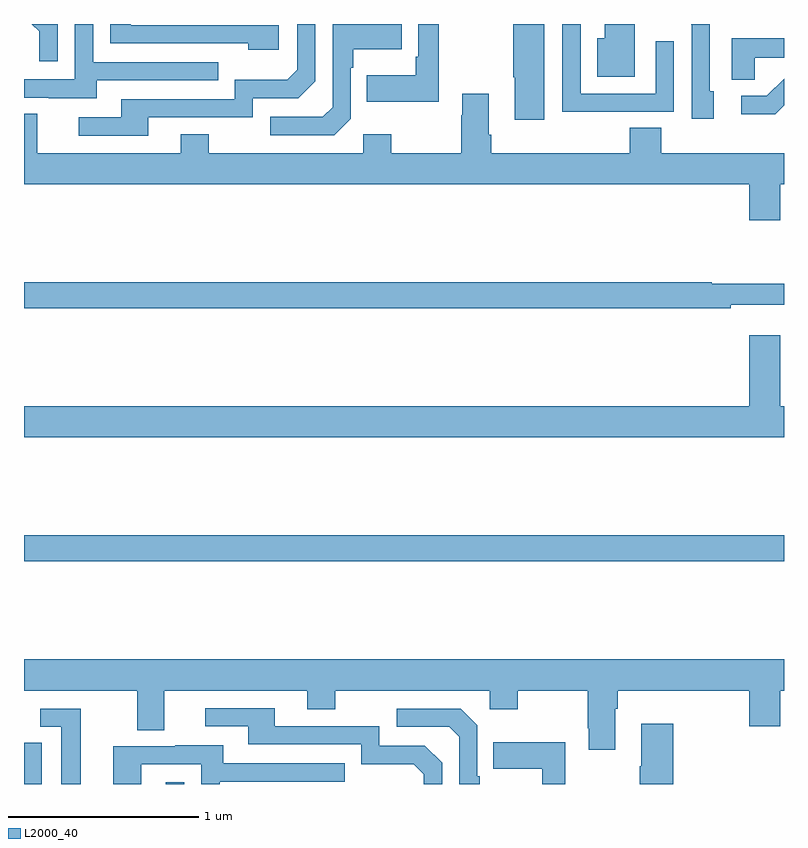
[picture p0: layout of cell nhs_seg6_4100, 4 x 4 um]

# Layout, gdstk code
import gdstk
lib = gdstk.Library(unit=1e-6, precision=1e-09)
def R(c, l, rs):  # rectangles x0, y0, x1, y1
    for r in rs: c.add(gdstk.rectangle(r[:2], r[2:], *l))
def P(c, l, *ps):  # polygons
    for p in ps: c.add(gdstk.Polygon(p, *l))
L2000_40 = (2000, 40)

nhs_seg6_4100 = lib.new_cell('nhs_seg6_4100')
R(nhs_seg6_4100, L2000_40, [(353,957.5,353.094,957.716), (353.747,957.5,353.844,957.508), (353,958.672,357,958.808)])
P(nhs_seg6_4100, L2000_40, [(356.629,961.146),(356.61,961.146),(356.61,961.5),(356.512,961.5),(356.512,961.495),(356.514,961.495),(356.514,961.002),(356.629,961.002)],
  [(354.72,961.002),(354.72,961.271),(354.733,961.271),(354.733,961.367),(354.989,961.367),(354.989,961.5),(354.624,961.5),(354.624,961.062),(354.573,961.011),(354.297,961.011),(354.297,960.915),(354.633,960.915)],
  [(356.105,961.038),(356.421,961.038),(356.421,961.408),(356.325,961.408),(356.325,961.134),(355.929,961.134),(355.929,961.5),(355.833,961.5),(355.833,961.037),(356.105,961.037)],
  [(355.183,961.5),(355.074,961.5),(355.074,961.327),(355.062,961.327),(355.062,961.231),(354.805,961.231),(354.805,961.091),(355.183,961.091)],
  [(355.738,961.5),(355.576,961.5),(355.576,961.219),(355.583,961.219),(355.583,960.996),(355.738,960.996)],
  [(356.215,961.5),(356.057,961.5),(356.057,961.426),(356.018,961.426),(356.018,961.223),(356.215,961.223)],
  [(353.178,961.498),(353.176,961.5),(353.042,961.5),(353.081,961.461),(353.081,961.305),(353.178,961.305)],
  [(353.383,961.203),(354.023,961.203),(354.023,961.299),(353.364,961.299),(353.364,961.5),(353.268,961.5),(353.268,961.209),(353,961.209),(353,961.113),(353.129,961.113),(353.129,961.109),(353.383,961.109)],
  [(353.653,961.008),(354.204,961.008),(354.204,961.11),(354.444,961.11),(354.534,961.2),(354.534,961.5),(354.438,961.5),(354.438,961.26),(354.385,961.207),(354.108,961.207),(354.108,961.104),(353.513,961.104),(353.513,961.008),(353.289,961.008),(353.289,960.912),(353.653,960.912)],
  [(354.34,961.494),(353.563,961.494),(353.563,961.5),(353.454,961.5),(353.454,961.398),(354.179,961.398),(354.179,961.364),(354.34,961.364)],
  [(356.847,961.322),(357,961.322),(357,961.426),(356.726,961.426),(356.726,961.207),(356.847,961.207)],
  [(357,961.072),(357,961.213),(356.909,961.122),(356.775,961.122),(356.775,961.025),(356.953,961.025)],
  [(356.98,960.656),(357,960.656),(357,960.82),(356.354,960.82),(356.354,960.953),(356.189,960.953),(356.189,960.82),(355.46,960.82),(355.46,960.916),(355.447,960.916),(355.447,961.132),(355.307,961.132),(355.307,961.019),(355.3,961.019),(355.3,960.82),(354.933,960.82),(354.933,960.919),(354.786,960.919),(354.786,960.82),(353.973,960.82),(353.973,960.919),(353.825,960.919),(353.825,960.82),(353.071,960.82),(353.071,961.028),(353,961.028),(353,960.656),(356.816,960.656),(356.816,960.468),(356.98,960.468)],
  [(356.72,960.023),(357,960.023),(357,960.133),(356.62,960.133),(356.62,960.14),(353,960.14),(353,960.004),(356.72,960.004)],
  [(357,959.488),(356.98,959.488),(356.98,959.863),(356.816,959.863),(356.816,959.488),(353,959.488),(353,959.324),(357,959.324)],
  [(356.113,957.896),(356.126,957.896),(356.126,957.992),(356.816,957.992),(356.816,957.804),(356.98,957.804),(356.98,957.992),(357,957.992),(357,958.156),(353,958.156),(353,957.992),(353.597,957.992),(353.597,957.784),(353.737,957.784),(353.737,957.992),(354.491,957.992),(354.491,957.893),(354.639,957.893),(354.639,957.992),(355.452,957.992),(355.452,957.893),(355.599,957.893),(355.599,957.992),(355.966,957.992),(355.966,957.793),(355.973,957.793),(355.973,957.681),(356.113,957.681)],
  [(355.2,957.612),(355.11,957.702),(354.87,957.702),(354.87,957.804),(354.319,957.804),(354.319,957.9),(353.955,957.9),(353.955,957.804),(354.179,957.804),(354.179,957.708),(354.774,957.708),(354.774,957.605),(355.051,957.605),(355.104,957.552),(355.104,957.5),(355.2,957.5)],
  [(355.399,957.541),(355.386,957.541),(355.386,957.81),(355.299,957.897),(354.963,957.897),(354.963,957.801),(355.239,957.801),(355.29,957.75),(355.29,957.5),(355.399,957.5)],
  [(353.299,957.897),(353.085,957.897),(353.085,957.801),(353.195,957.801),(353.195,957.5),(353.299,957.5)],
  [(356.417,957.817),(356.249,957.817),(356.249,957.593),(356.242,957.593),(356.242,957.5),(356.417,957.5)],
  [(355.849,957.721),(355.471,957.721),(355.471,957.581),(355.728,957.581),(355.728,957.5),(355.849,957.5)],
  [(353.616,957.603),(353.934,957.603),(353.934,957.5),(354.03,957.5),(354.03,957.513),(354.689,957.513),(354.689,957.609),(354.049,957.609),(354.049,957.703),(353.795,957.703),(353.795,957.699),(353.471,957.699),(353.471,957.5),(353.616,957.5)])

lib.write_gds('nhs_seg6_4100.gds')
